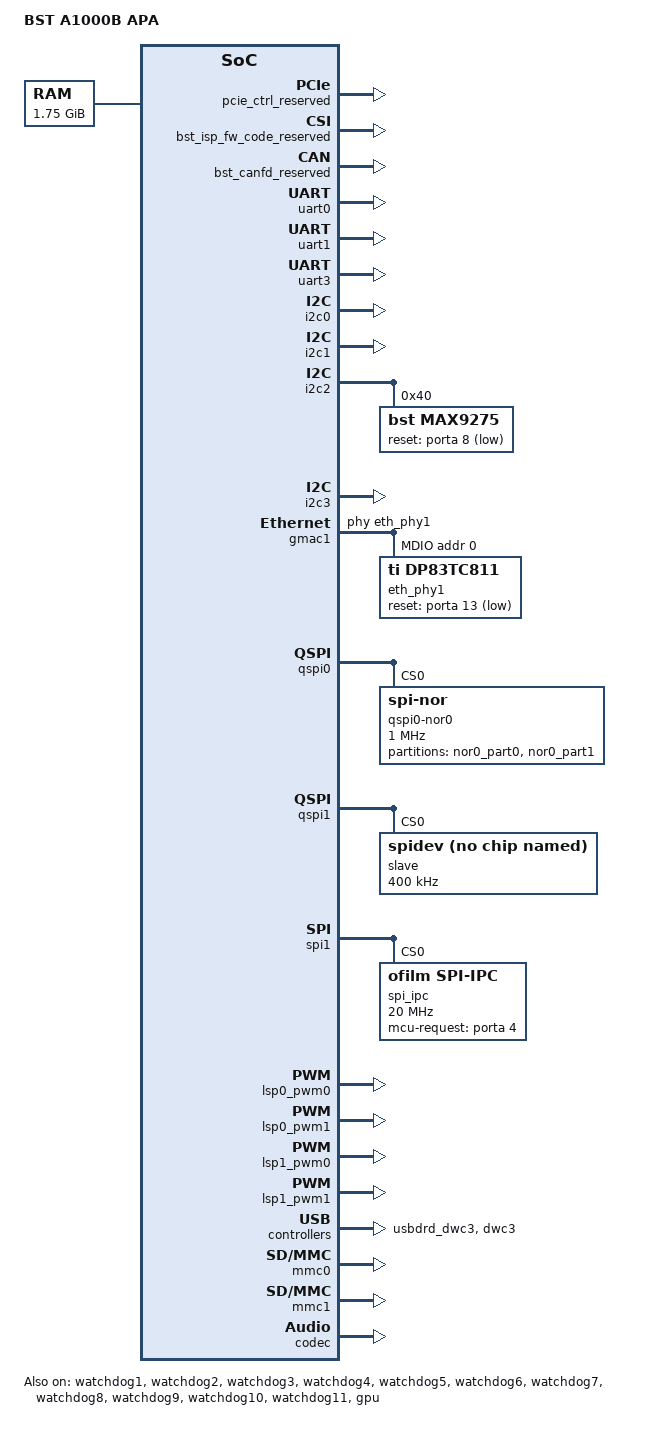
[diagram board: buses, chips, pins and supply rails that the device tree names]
/dts-v1/;

/memreserve/ 0x18000000 0x100000;

#include "bsta1000b.dtsi"
#include "isp/a1000b-apa/apa-configs.dtsi"

/ {
	compatible = "bst,a1000b";
	model = "BST A1000B APA";

	chosen {
		bootargs = "earlycon=uart8250,mmio32,0x20008000 console=ttyS0,115200n8 memreserve=64M@0xf8000000 rdinit=/sbin/init root=/dev/ram rw init=/linuxrc rodata=n";
		stdout-path = "uart0";
	};

	aliases {
		//serial0 = "/amba_apu@0/serial@20008000";
	};
	
	memory@80000000 {
		device_type = "memory";
		reg = <0x00000000 0x80000000 0x00000000 0x70000000>;
	};

    memory1@18000000 {
        device_type = "memory";
        reg = <0x0 0x18000000 0x0 0x100000>;
    };

	reserved-memory {
		#address-cells = <2>;
		#size-cells = <2>;
		ranges;
		
		pcie_ctrl_reserved: pcie_ctrl@8fd00000 {
			compatible = "bst,pcie-ctrl";
			reg = <0x0 0x8fd00000 0x0 0x100000>;
			no-map;
		};

		bst_atf_reserved: bst_atf@8b000000 {
			compatible = "shared-dma-pool";
			reg = <0x0 0x8b000000 0x0 0x2000000>;
			no-map;
		};

		bst_tee_reserved: bst_tee@8fec0000 {
			compatible = "shared-dma-pool";
			reg = <0x0 0x8fec0000 0x0 0x40000>;
			no-map;
		};

		bst_ipc_reserved: bstn_cma@8ff00000 {
			compatible = "shared-dma-pool";
			reg = <0x0 0x8ff00000 0x0 0x100000>;
			no-map;
		};

		bstn_firmware_reserved: bstn@90000000 {
			compatible = "bst,bstn";
			reg = <0x0 0x90000000 0x0 0x2000000>;
			no-map;
		};

		bst_lwnn_dsp0_firmware_reserved: bst_lwnn@92000000 {
			compatible = "bst,bst_lwnn";
			reg = <0x0 0x92000000 0x0 0x2000000>;
			no-map;
		};

		bst_lwnn_dsp1_firmware_reserved: bst_lwnn@94000000 {
			compatible = "bst,bst_lwnn";
			reg = <0x0 0x94000000 0x0 0x2000000>;
			no-map;
		};

		bst_cv_firmware_reserved: bst_cv@96000000 {
			compatible = "bst,bst_cv";
			reg = <0x0 0x96000000 0x0 0x4000000>;
			no-map;
		};

		bst_cv_reserved: bst_cv_cma@9a000000 {
			compatible = "shared-dma-pool";
			reg = <0x0 0x9a000000 0x0 0x2000000>;
			align-shift = <8>;
			no-map;
		};

		/* reserved for vsp fw code */
		bst_vsp_fw_code_reserved: vsp@0x9c000000 {
			compatible = "shared-dma-pool";
			reg = <0x0 0x9c000000 0x0 0x1000000>;
			no-map;
		};

		/* reserved for vsp fw data */
		vsp_fw_data_reserved: vsp_fw@0x9d000000 {
			reg = <0x0 0x9d000000 0x0 0x4000000>;
			no-map;
		};

		/* reserved for isp fw code */
		bst_isp_fw_code_reserved: bst_isp@0xa1000000 {
			compatible = "shared-dma-pool";
			reg = <0x0 0xa1000000 0x0 0x1000000>;
			no-map;
		};

		/* reserved for isp fw data */
		isp_fw_data_reserved: bst_isp_fw@0xa2000000 {
			reg = <0x0 0xa2000000 0x0 0x10000000>;
			no-map;
		};

		/* coreip public memory pool */
		coreip_reserved: coreip_pub_cma@0xb2000000 {
			compatible = "shared-dma-pool";
			reg = <0x0 0xb2000000 0x0 0x2f000000>;
			reusable;
		};

		/* reserved for pmu noc */
		pmu_noc_reserved: pmu_noc@0xe8000000 {
			reg = <0x0 0xe8000000 0x0 0x800000>;
			no-map;
		};

		bst_canfd_reserved: canfd@0xe8800000 {
			compatible = "shared-dma-pool";
			reg = <0x0 0xe8800000 0x0 0x800000>;
			reusable;
		};

		/* reserved for ddr0 high 256M */
		//bst_ddr0_reserved: ddr0@0xf0000000 {
		//	reg = <0x0 0xf0000000 0x0 0x10000000>;
		//	no-map;
		//};
	};

    //ipc
    mbox-poll-clients{
        compatible = "bst,ipc-mbox-client";
        reg = <0xfec00020 0x8>,     // dsp
            <0x52030090 0x8> ,      // ISP
            <0x53090008 0x8>,       // VSP
            <0xfec00028 0x8>;       // R5 core0

        #mbox-cells = <0x1>;
        phandle = <0xe>;
    };
    bstn-mbox {
        compatible = "bstn,bstn-mbox";
        // zcu102+vu440
        reg =   <0x0 0x33102000 0x0 0x2000>,
                      <0x0 0x33100000 0x0 0x2000>,
                      <0x0 0x80000000 0x0 0x4>,
                      <0x0 0x80002000 0x0 0x4>;
        fpga-reset = <1>;
		memory-region = <&bst_ipc_reserved>;
        // id = <0x0>;
        assigned-mem-size = <0x1000>;
    	interrupt-parent = <&gic400>;
    	interrupts =	<
						GIC_SPI 113 (GIC_CPU_MASK_SIMPLE(8) | IRQ_TYPE_LEVEL_HIGH)
						GIC_SPI 114 (GIC_CPU_MASK_SIMPLE(8) | IRQ_TYPE_LEVEL_HIGH)
						GIC_SPI 115 (GIC_CPU_MASK_SIMPLE(8) | IRQ_TYPE_LEVEL_HIGH)
						GIC_SPI 116 (GIC_CPU_MASK_SIMPLE(8) | IRQ_TYPE_LEVEL_HIGH)
						GIC_SPI 117 (GIC_CPU_MASK_SIMPLE(8) | IRQ_TYPE_LEVEL_HIGH)
						GIC_SPI 118 (GIC_CPU_MASK_SIMPLE(8) | IRQ_TYPE_LEVEL_HIGH)
						GIC_SPI 119 (GIC_CPU_MASK_SIMPLE(8) | IRQ_TYPE_LEVEL_HIGH)
						GIC_SPI 120 (GIC_CPU_MASK_SIMPLE(8) | IRQ_TYPE_LEVEL_HIGH)>;

        #mbox-cells = <0x1>;
        phandle = <0xea>;
    };
    
    bstn@0 {
        #address-cells = <0x2>;
        #size-cells = <0x2>;
        compatible = "bst,bstn,cma";
        reg = <0x0 0x50020000 0x0 0x100
            0x0 0x90000000 0x0 0x2000000>;
        memory-region = <&coreip_reserved>;
        //the following two properties must be consistent with bstn_reserved
        rmem-base = <0x0 0xb2000000>;
        rmem-size = <0x0 0x36000000>;
        id = <0x0>;
        assigned-mem-size = <0x1000>;
        bus-offset = <0x0 0x0>;
        mbox-names = "bstn-mbox";
        mboxes = <0xea 0x8>;
        firmware = "bstn_dsp_rt.rbf";
    };

    bst_cv@0x51030000 {
        #address-cells = <0x2>;
        #size-cells = <0x2>;
        compatible = "bst,bst_cv,cma";
        reg =   <0x0 0x51030000 0x0 0x100
                0x0 0x96000000 0x0 0x2000000
                0x0 0x98000000 0x0 0x2000000
                0x0 0x92000000 0x0 0x2000000
                0x0 0x94000000 0x0 0x2000000>;
        memory-region = <&bst_cv_reserved>;
        assigned-mem-size = <0x4000>;
        //the offset between the DDR physical address and the corresponding device bus address
        bus-offset = <0x0 0x0>;
        mbox-names = "bstn-mbox";
        mboxes = <0xea 0x9>;
        dsp-num = <0x4>;
        ipc-register-addr = <0x8ff00000>;
        dsp@0x96000000 {
            index = <0x0>;
            firmware = "bst_cv_dsp_rt.rbf";
            assigned-mem-size = <0x1000>;
            rt-init-addr = <0x967ff000>;
            //ipc source ARM core index of the CV driver
            ipc-src-core = <0x3>;
        };
        dsp@0x98000000 {
            index = <0x1>;
            firmware = "bst_cv_dsp1_rt.rbf";
            assigned-mem-size = <0x1000>;
            rt-init-addr = <0x987ff000>;
            //ipc source ARM core index of the CV driver
            ipc-src-core = <0x3>;
        };
        dsp@0x92000000 {
            index = <0x2>;
            firmware = "bst_cv_dsp2_rt.rbf";
            assigned-mem-size = <0x1000>;
            rt-init-addr = <0x927ff000>;
            //ipc source ARM core index of the CV driver
            ipc-src-core = <0x3>;
        };
        dsp@0x94000000 {
            index = <0x3>;
            firmware = "bst_cv_dsp3_rt.rbf";
            assigned-mem-size = <0x1000>;
            rt-init-addr = <0x947ff000>;
            //ipc source ARM core index of the CV driver
            ipc-src-core = <0x3>;
        };
    };

    bst_lwnn@0x51030000 {
        compatible = "bst,bst_lwnn,cma";
        reg =   <0x0 0x51030000 0x0 0x100
                0x0 0x92000000 0x0 0x2000000
                0x0 0x94000000 0x0 0x2000000>;
        memory-region = <&coreip_reserved>;
        //the offset between the DDR physical address and the corresponding device bus address
        bus-offset = <0x0 0x0>;
        mbox-names = "bst-lwnn-mbox";

        dsp-num = <0x2>;
        ipc-register-addr = <0x8ff00000>;
        dsp@0x92000000 {
            index = <0x2>;
            firmware = "bst_lwnn_dsp2_rt.rbf";
            assigned-mem-size = <0x2000>;
            rt-init-addr = <0x927ff000>;
            //ipc source ARM core index of the LWNN driver
            ipc-src-core = <0x6>;
        };
        dsp@0x94000000 {
            index = <0x3>;
            firmware = "bst_lwnn_dsp3_rt.rbf";
            assigned-mem-size = <0x2000>;
            rt-init-addr = <0x947ff000>;
            //ipc source ARM core index of the LWNN driver
            ipc-src-core = <0x0>;
        };    
    };

	ipc_vsp@0 {
		#address-cells = <0x2>;
		#size-cells = <0x2>;
		compatible = "bst,bst-vsp-ipc";
		reg = <0x0 0x9c000000 0x0 0x100000
				0x0 0x9c100000 0x0 0x80000
				0x0 0x9c180000 0x0 0x80000
				0x0 0x53090004 0x0 0x4
				0x0 0x53090010 0x0 0xc
				0x0 0x33102fbc 0x0 0x4
				0x0 0x9d000000 0x0 0x4000000>;
		memory-region = <&bst_vsp_fw_code_reserved>;
		mbox-names = "bstn-mbox"; // need
		mboxes = <0xea 0x7>;
	};

	vsp@1 {
		#address-cells = <0x2>;
		#size-cells = <0x2>;
		compatible = "bst,bst-vsp";
		memory-region = <&coreip_reserved>;
		assigned-mem-size = <0x1000>;

                clocks = <&clkc LB_VSP_DISP_CLK>;
                clock-names = "vout_display_clk";
                output-format = "RGB888";      //HDMI_YUV444, HDMI_RGB, RGB888(LVDS)

                panel-timing {
                clock-frequency = <47925000>;
                hactive = <1760>;
                vactive = <720>;
                hfront-porch = <110>;
                hback-porch = <220>;
                hsync-len = <40>;
                vfront-porch = <5>;
                vback-porch = <20>;
                vsync-len = <5>;
                hsync-active = <1>;
                vsync-active = <0>;
                };
	};

       gmwarp@0 {
		#address-cells = <0x2>;
		#size-cells = <0x2>;
		compatible = "bst,bst-gmwarp";
		memory-region = <&coreip_reserved>;
	};

     encoder@0 {
		#address-cells = <0x2>;
		#size-cells = <0x2>;
		compatible = "bst,bst-encoder";
		memory-region = <&coreip_reserved>;
     };

    firmware {
		optee {
			compatible = "linaro,optee-tz";
			method = "smc";
            chip-number = <2>;
		};
	};

    tee {
        #address-cells = <0x2>;
        #size-cells = <0x2>;
        reg = <0x0 0x18060000 0x0 0x20000>;
        memory-region = <&bst_tee_reserved>;
        mbox-names = "bstn-mbox";
        chip-number = <1>;
    };

    ipc_arm0@0 {
        #address-cells = <0x2>;
        #size-cells = <0x2>;
        compatible = "bst,arm0";
        reg = <0x4 0xfec00000 0x0 0x20 0x4 0x80000000 0x0 0x20000>;
        memory-region = <&bst_ipc_reserved>;
        //id = <0x0>;
        //ipc-resource-id = <0>;   // ipc add, refer to mbox-poll-clients :reg <0>
        assigned-mem-size = <0x1000>;
        // bstn-offset = <0x4 0x0>;
        mbox-names = "bstn-mbox";
        mboxes = <0xea 0x0>;
    };

    ipc_arm3@3 {
        #address-cells = <0x2>;
        #size-cells = <0x2>;
        compatible = "bst,arm3";
        reg = <0x4 0xfec10000 0x0 0x20 0x4 0x80000000 0x0 0x20000>;
        memory-region = <&bst_ipc_reserved>;
        // id = <0x1>;
        //ipc-resource-id = <0>;   // ipc add, refer to mbox-poll-clients :reg <0>
        assigned-mem-size = <0x1000>;
        //bstn-offset = <0x4 0x0>;
        mbox-names = "bstn-mbox";
        mboxes = <0xea 0x3>;
    };

    ipc_arm2@2 {
        #address-cells = <0x2>;
        #size-cells = <0x2>;
        compatible = "bst,arm2";
        reg = <0x4 0xfec10000 0x0 0x20 0x4 0x80000000 0x0 0x20000>;
        memory-region = <&bst_ipc_reserved>;
        // id = <0x1>;
        //ipc-resource-id = <0>;   // ipc add, refer to mbox-poll-clients :reg <0>
        assigned-mem-size = <0x1000>;
        //bstn-offset = <0x4 0x0>;
        mbox-names = "bstn-mbox";
        mboxes = <0xea 0x2>;
    };

    ipc_arm1@1 {
        #address-cells = <0x2>;
        #size-cells = <0x2>;
        compatible = "bst,arm1";
        reg = <0x4 0xfec10000 0x0 0x20 0x4 0x80000000 0x0 0x20000>;
        memory-region = <&bst_ipc_reserved>;
        //id = <0x1>;
        //ipc-resource-id = <0>;   // ipc add, refer to mbox-poll-clients :reg <0>
        assigned-mem-size = <0x1000>;
        // bstn-offset = <0x4 0x0>;
        mbox-names = "bstn-mbox";
        mboxes = <0xea 0x1>;
    };
    ipc@0 {
        #address-cells = <0x2>;
        #size-cells = <0x2>;
        compatible = "bst,ipc";
        reg = <0x4 0xfec00000 0x0 0x20 0x4 0x80000000 0x0 0x20000>;
        memory-region = <&bst_ipc_reserved>;
        // id = <0x0>;
        assigned-mem-size = <0x1000>;
        // bstipc-offset = <0x4 0x0>;
        mbox-names = "bstn-mbox";
        mboxes = <0xea 0x5>;
        //firmware = "dsp_rt.rbf";
    };
};

&pinctrl {
    status = "okay";
    can0_transceiver_pinctrl: can0_transceiver_pinctrl {
        mux {
            //pins = "gpio_107";
            function = "gpio";
        };
    };
    can1_transceiver_pinctrl: can1_transceiver_pinctrl {
        mux {
            //pins = "gpio_30";
            function = "gpio";
        };
    };
    can2_transceiver_pinctrl: can2_transceiver_pinctrl {
        mux {
            //pins = "jtag_tdo";
            function = "gpio";
        };
    };
};

&uart0 {
    status = "okay";
};
&uart1 {
    status = "okay";
};
&uart2 {
    status = "disable";
};
&uart3 {
    status = "okay";
};

&i2c0 {
    status = "okay";
};
&i2c1 {
    status = "okay";
};
&i2c2 {
    status = "okay";
	#address-cells = <1>;
	#size-cells = <0>;
        max9275@40 {
	    compatible = "bst,max9275";
	    reg = <0x40>;
	    reset-gpios = <&porta 8 1>;
	    pinctrl-names = "default";	
	};
};
&i2c3 {
    status = "okay";   
};

&i2c4 {
    status = "disable";
};

&i2c5 {
    status = "disable";
};

&gdma0 {
    status = "okay";
};

&canfd0 {
    status = "disable";
    //reset-gpios = <&porta 22 0>;
    reset-active-low;
    memory-region = <&bst_canfd_reserved>;
    pinctrl-names = "default";
	//pinctrl-0 = <&can0_pinctrl &can0_transceiver_pinctrl>;
};
&canfd1 {
    status = "disable";
    //reset-gpios = <&porta 23 0>;
    reset-active-low;
    pinctrl-names = "default";
	//pinctrl-0 = <&can1_pinctrl &can1_transceiver_pinctrl>;
};
&canfd2 {
    status = "disable";
    //reset-gpios = <&portb 4 0>;
    reset-active-low;
    pinctrl-names = "default";
	//pinctrl-0 = <&can2_pinctrl &can2_transceiver_pinctrl>;
};
&gpio0 {
    status = "okay";

    /* gpio_special_func_pinctrl:gpio_num_29 gmac0 reset pin; debug_4 and debug_5 as gpio */
    pinctrl-0 = <&gpio_special_func_pinctrl  &sdemmc0_pinctrl  &sdemmc1_pinctrl  &vout_pinctrl  &vin_pinctrl>;
};
&gpio1 {
    status = "okay";
};
           
&gmac0 {
    status = "disable";
    mac-mode = "rgmii";
    phy-handle = <&eth_phy0>;
    extend-op = <15>;
    pinctrl-names = "default";
    pinctrl-0 = <&rgmii0_pinctrl>;
    mdio {
        compatible = "snps,dwmac-mdio";
        #address-cells = <1>;
        #size-cells = <0>;
        eth_phy0: eth_phy0@0 {
            compatible = "marvell,88E1510", "ethernet-phy-id0141.0DD1", "ethernet-phy-ieee802.3-c22";
            device_type = "ethernet-phy";
            /* On - Link, Blink - Activity, Off - No Link - Dual LED mode*/
            marvell,reg-init = <3 0x10 0 0x101e>;
            max-speed = <1000>;
            reg = <0x0>;
            reset-gpios = <&porta 15 1>;
            reset-assert-us = <20000>;
            reset-deassert-us = <20000>;
        };
    };
};

&gmac1 {
    status = "okay";
    mac-mode = "rgmii";
    phy-handle = <&eth_phy1>;
    extend-op = <15>;
    pinctrl-names = "default";
    pinctrl-0 = <&rgmii1_pinctrl>;
    mdio {
        compatible = "snps,dwmac-mdio";
        #address-cells = <1>;
        #size-cells = <0>;
        eth_phy1: eth_phy1@1 {
            compatible = "ti,DP83TC811", "ethernet-phy-id2000.A253", "ethernet-phy-ieee802.3-c22";
			device_type = "ethernet-phy";
			max-speed = <100>;
			reg = <0x0>;
            reset-gpios = <&porta 13 1>;
            reset-active-low;
	        reset-assert-us = <20000>;
	        reset-deassert-us = <20000>;
		};
    };
};


&qspi0 {
    status = "okay";
    //wp_mode;
    qspi0-nor0@0 {
        #address-cells = <1>;
        #size-cells = <1>;
        spi-rx-bus-width = <1>;
        spi-tx-bus-width = <1>;
        compatible = "jedec,spi-nor";
        status = "okay";
        spi-max-frequency = <1000000>;
        reg = <0>;
        mode = <0>;

        partition@0 {
            reg = <0 0x1e00000>;
            label = "nor0_part0";
        };
        partition@1e00000 {
            reg = <0x1e00000 0x200000>;
            label = "nor0_part1";
        };
    };
};

&qspi1 {
    status = "okay";
    slave@0 {
            compatible = "spidev";
            reg = <0>;
            spi-max-frequency = <400000>;
    };
};

&spi0 {
    status = "disable";
};

&spi1 {
    status = "okay";
    spi_ipc@0{
            compatible = "ofilm,spi-ipc";
            reg = <0>;
            spi-max-frequency = <20000000>;
            spi-cpha;
            nr-channels = <8>;
            xfer-size = <2048>;
            mcu-request-gpios = <&porta 4 0>;
    };
};

&watchdog0 {
    status = "disable";
};
&watchdog1 {
    status = "okay";
};
&watchdog2 {
    status = "okay";
};
&watchdog3 {
    status = "okay";
};
&watchdog4 {
    status = "okay";
};
&watchdog5 {
    status = "okay";
};
&watchdog6 {
    status = "okay";
};
&watchdog7 {
    status = "okay";
};
&watchdog8 {
    status = "okay";
};
&watchdog9 {
    status = "okay";
};
&watchdog10 {
    status = "okay";
};
&watchdog11 {
    status = "okay";
};

&ddr_ecc {
    status = "disable";
};

&arm_pmu {
    status = "disable";
};

&lsp0_pwm0 {
	/* safety used lsp0-timer-ch0 */
	/* must be disable */
    status = "okay";
};
&lsp0_pwm1 {
    status = "okay";
};
&lsp1_pwm0 {
    status = "okay";
};
&lsp1_pwm1 {
    status = "okay";
};

&a55_timer0 {
    status = "disable";
};

&a55_timer1 {
    status = "disable";
};
&usbdrd_dwc3 {
    powerctl-gpios = <&porta 7 GPIO_ACTIVE_HIGH>;
    status = "okay";
};

&dwc3 {
    status = "okay";
};


&mmc0 {
    status = "okay";
};

&mmc1 {
    status = "okay";
};

&i2s0 {
    status = "disable";
};

&i2s1 {
    status = "disable";
};
&thermal {
    status = "okay";
};
&gpu {
    status = "okay";
};

&codec {
    status = "okay";
};
